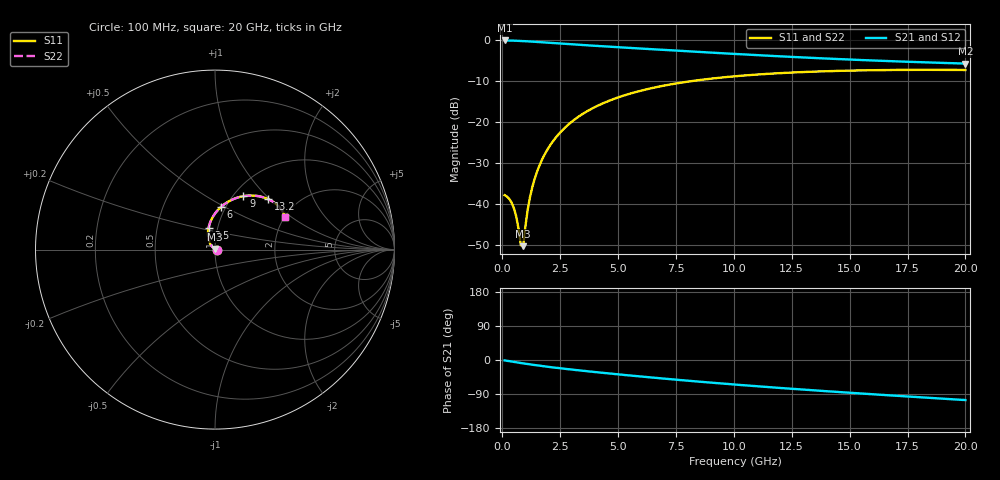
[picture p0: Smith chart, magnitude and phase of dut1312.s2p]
! Touchstone file exported from HFSS 2024.1.0
!  File:  C:/UserFiles/LocalFiles/RDL_TSV_Batchsim/temp_RDL_TSV_1312_1780385042.aedt
!  Generated:  03:38:55 PM Jun  2, 2026
!  Design:  RDL_TSV
!  Project:  temp_RDL_TSV_1312_1780385042
!  Setup:  Setup1
!  Solution:  Sweep
! Variables:
!  dtsv = 11.34um
!  hbump = 3um
!  htsv = 56.03um
!  ldown = 112.77um
!  lrdl = 222.76um
!  p = 40
!  p1 = 48.6um
!  rhole = 10um
!  subl = 1229.35um
!  t = 450um
!  tdown = 3.7um
!  trdl = 2.71um
!  viad = 10um
!  wdown = 10.28um
!  wrdl = 12.24um
!  xbump = 18um
# GHz S MA R 50.000000
! Terminal data exported
! Port[1] = TM1_1_T1
! Port[2] = TM1_4_T1
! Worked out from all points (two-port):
!   200 points, 100 MHz to 20 GHz, reference 50 ohm
!   highest |S21| = -0.12 dB at 100 MHz (marker M1); lowest = -5.7 dB at 20 GHz (marker M2)
!   |S21| within 3 dB of the highest: start of sweep to 9.129 GHz
!   lowest |S11| = -50.3 dB at 900 MHz (marker M3), VSWR 1.01, Z = 50 + j0.307 ohm
!   |S11| at or under -10 dB: start of sweep to 8.203 GHz
!   |S22| runs from -50.3 to -7.3 dB; largest |S21 - S12| = 1e-13
!   S11 on the Smith chart (normalised r, x): 100 MHz: 1.03, -0.00; 3.5 GHz: 0.90, +0.22; 6 GHz: 0.95, +0.48; 9 GHz: 1.11, +0.75; 13.2 GHz: 1.45, +0.98; 20 GHz: 2.00, +0.90
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0.1  0.01284 -0.5  0.9867 -1.0  0.9867 -1.0  0.01284 -0.5
! Gamma 0 0 0 0
! Port Impedance 50 0 50 0
0.3  0.01158 -1.3  0.9848 -3.1  0.9848 -3.1  0.01158 -1.3
0.5  0.008925 -0.5  0.9812 -5.1  0.9812 -5.1  0.008927 -0.5
0.6  0.007098 2.3  0.9787 -6.0  0.9787 -6.0  0.007101 2.3
0.7  0.005046 10.4  0.976 -7.0  0.976 -7.0  0.00505 10.4
0.8  0.003163 35.3  0.973 -8.0  0.973 -8.0  0.003165 35.2
0.9  0.003069 90.2  0.9698 -8.9  0.9698 -8.9  0.003066 90.0
1.1  0.008652 130.4  0.9627 -10.7  0.9627 -10.7  0.008643 130.4
1.2  0.01231 133.8  0.9589 -11.6  0.9589 -11.6  0.0123 133.8
1.4  0.02042 134.7  0.951 -13.3  0.951 -13.3  0.02041 134.7
1.7  0.034 131.7  0.9386 -15.8  0.9386 -15.8  0.03398 131.7
2.4  0.0693 121.3  0.9093 -21.1  0.9093 -21.1  0.06926 121.3
3.5  0.127 106.3  0.8669 -28.6  0.8669 -28.6  0.1269 106.3
4.6  0.1811 94.2  0.8293 -35.4  0.8293 -35.4  0.181 94.2
6  0.2416 81.7  0.7856 -43.7  0.7856 -43.7  0.2414 81.7
6.8  0.2715 75.7  0.762 -48.2  0.762 -48.2  0.2714 75.7
9  0.3375 62.0  0.7018 -59.7  0.7018 -59.7  0.3373 61.9
10.1  0.3623 56.3  0.6745 -65.1  0.6745 -65.1  0.3621 56.3
13.2  0.4089 43.4  0.6084 -79.0  0.6084 -79.0  0.4087 43.4
13.4  0.4109 42.7  0.6047 -79.8  0.6047 -79.8  0.4107 42.6
16.7  0.4306 32.7  0.5527 -93.2  0.5527 -93.2  0.4303 32.6
20  0.4306 25.3  0.516 -105.7  0.516 -105.7  0.4302 25.2
